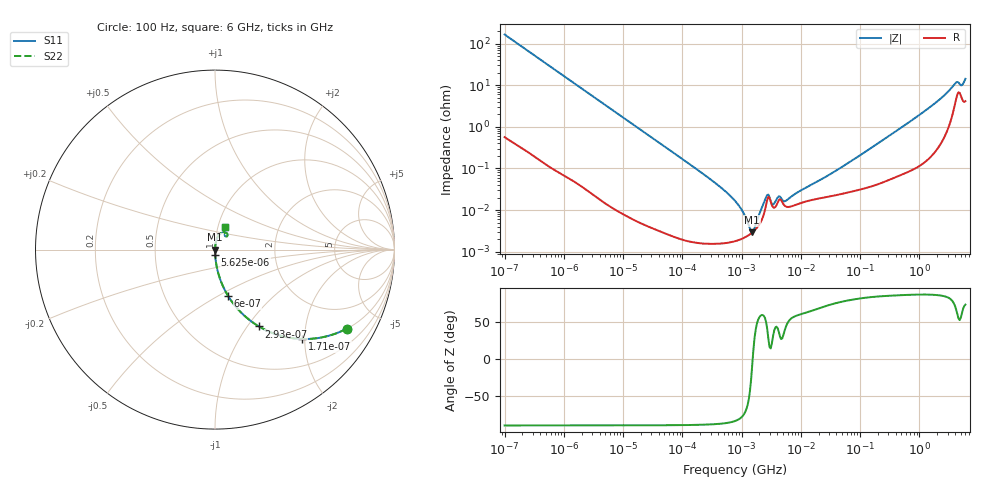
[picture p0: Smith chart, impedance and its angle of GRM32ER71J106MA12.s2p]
!Murata Part Number: GRM32ER71J106MA12
!These Parameters are Measured in Series Mode Connection
!Data Generated on Mar 30, 2021
!  o--ll--o
!Port1  Port2
!  o------o
!Operation Temp=25[degC], DC Bias Voltage=0[V]
!Freq. Start=100[Hz] Stop=6[GHz] 401[Steps]
# Hz S RI R 50
!Freq.(Hz) S11(Real) S11(Imag) S21(Real) S21(Imag) S12(Real) S12(Imag) S22(Real) S22(Imag)
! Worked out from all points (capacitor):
!   401 points, 100 Hz to 6 GHz, reference 50 ohm
!   read as one part in series: C = 9.57 uF near 109 Hz
!   lowest |Z| = 2.91 mohm at 1.516 MHz (marker M1)
!   series resonance near 1.541 MHz, so ESL is about 1.1 nH
!   S11 on the Smith chart (normalised r, x): 100 Hz: 1.01, -3.32; 171 Hz: 1.01, -1.94; 293 Hz: 1.00, -1.14; 600 Hz: 1.00, -0.56; 5.625 kHz: 1.00, -0.06; 6 GHz: 1.08, +0.27
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100  0.7332 -0.4406  0.2668 0.4406  0.2668 0.4406  0.7332 -0.4406
171  0.4857 -0.498  0.5143 0.498  0.5143 0.498  0.4857 -0.498
293  0.2451 -0.4283  0.7549 0.4283  0.7549 0.4283  0.2451 -0.4283
600  0.0727 -0.2577  0.9273 0.2577  0.9273 0.2577  0.0727 -0.2577
2008  0.00725 -0.0827  0.9928 0.0827  0.9928 0.0827  0.00725 -0.0827
5625  0.00102 -0.0298  0.999 0.0298  0.999 0.0298  0.00102 -0.0298
40335  4.89e-05 -0.00418  1 0.00418  1 0.00418  4.89e-05 -0.00418
330837  1.56e-05 -0.000489  1 0.000489  1 0.000489  1.56e-05 -0.000489
774597  1.78e-05 -0.000166  1 0.000166  1 0.000166  1.78e-05 -0.000166
1059725  2.09e-05 -8.65e-05  1 8.65e-05  1 8.65e-05  2.09e-05 -8.65e-05
1516199  2.89e-05 -3.8e-06  1 3.8e-06  1 3.8e-06  2.89e-05 -3.8e-06
2074311  4.94e-05 7.85e-05  1 -7.85e-05  1 -7.85e-05  4.94e-05 7.85e-05
2713602  0.000177 0.000148  0.9998 -0.000148  0.9998 -0.000148  0.000177 0.000148
3394479  0.000117 6.82e-05  0.9999 -6.82e-05  0.9999 -6.82e-05  0.000117 6.82e-05
4246196  0.000171 0.000127  0.9998 -0.000127  0.9998 -0.000127  0.000171 0.000127
5554849  0.000122 0.000112  0.9999 -0.000112  0.9999 -0.000112  0.000122 0.000112
1.555665e7  0.000175 0.000375  0.9998 -0.000375  0.9998 -0.000375  0.000175 0.000375
3.124326e8  0.00057 0.00611  0.9994 -0.00611  0.9994 -0.00611  0.00057 0.00611
1.712697e9  0.00333 0.0338  0.9967 -0.0338  0.9967 -0.0338  0.00333 0.0338
4.009986e9  0.0439 0.0959  0.9561 -0.0959  0.9561 -0.0959  0.0439 0.0959
5.245841e9  0.0521 0.0797  0.9479 -0.0797  0.9479 -0.0797  0.0521 0.0797
6e9  0.0559 0.1234  0.9441 -0.1234  0.9441 -0.1234  0.0559 0.1234
